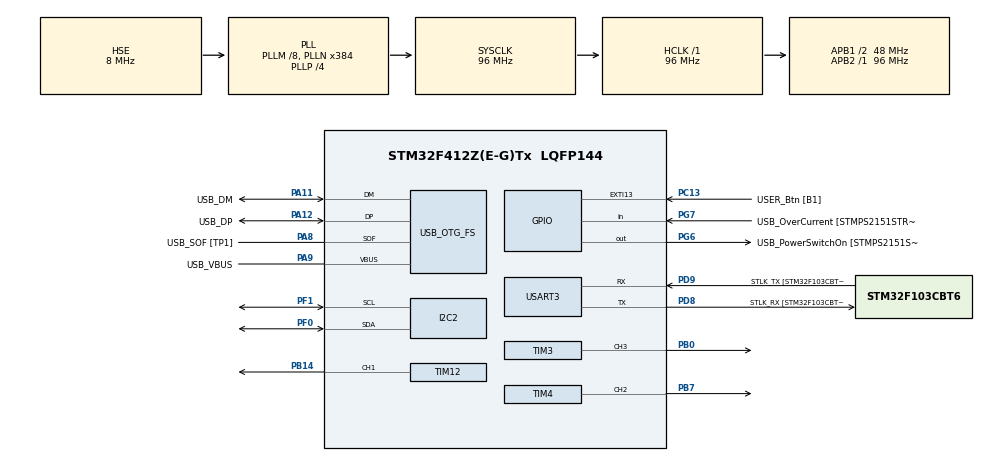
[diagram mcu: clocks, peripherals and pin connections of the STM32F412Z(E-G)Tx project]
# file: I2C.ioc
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Mcu.Family=STM32F4
Mcu.Name=STM32F412Z(E-G)Tx
Mcu.Package=LQFP144
NVIC.PriorityGroup=NVIC_PRIORITYGROUP_4
PA10.GPIO_Label=USB_ID
PA10.Signal=USB_OTG_FS_ID
PA11.GPIO_Label=USB_DM
PA11.Mode=Device_Only
PA11.Signal=USB_OTG_FS_DM
PA12.GPIO_Label=USB_DP
PA12.Mode=Device_Only
PA12.Signal=USB_OTG_FS_DP
PA13.GPIO_Label=TMS
PA13.Mode=Serial_Wire
PA13.Signal=SYS_JTMS-SWDIO
PA14.GPIO_Label=TCK
PA14.Mode=Serial_Wire
PA14.Signal=SYS_JTCK-SWCLK
PA8.GPIO_Label=USB_SOF [TP1]
PA8.Mode=Activate_SOF_FS
PA8.Signal=USB_OTG_FS_SOF
PA9.GPIO_Label=USB_VBUS
PA9.Mode=Activate_VBUS
PA9.Signal=USB_OTG_FS_VBUS
PB0.Signal=S_TIM3_CH3
PB14.Signal=S_TIM12_CH1
PB3.GPIO_Label=SWO
PB3.Signal=SYS_JTDO-SWO
PB7.Signal=S_TIM4_CH2
PC13.GPIO_Label=USER_Btn [B1]
PC13.Signal=GPXTI13
PC14-OSC32_IN.Mode=LSE-External-Oscillator
PC14-OSC32_IN.Signal=RCC_OSC32_IN
PC15-OSC32_OUT.Mode=LSE-External-Oscillator
PC15-OSC32_OUT.Signal=RCC_OSC32_OUT
PD8.GPIO_Label=STLK_RX [STM32F103CBT6_PA3]
PD8.Mode=Asynchronous
PD8.Signal=USART3_TX
PD9.GPIO_Label=STLK_TX [STM32F103CBT6_PA2]
PD9.Mode=Asynchronous
PD9.Signal=USART3_RX
PF0.Mode=I2C
PF0.Signal=I2C2_SDA
PF1.Mode=I2C
PF1.Signal=I2C2_SCL
PG6.GPIO_Label=USB_PowerSwitchOn [STMPS2151STR_EN]
PG6.Signal=GPIO_Output
PG7.GPIO_Label=USB_OverCurrent [STMPS2151STR_FAULT]
PG7.Signal=GPIO_Input
PH0\ -\ OSC_IN.GPIO_Label=MCO
PH0\ -\ OSC_IN.Mode=HSE-External-Clock-Source
PH0\ -\ OSC_IN.Signal=RCC_OSC_IN
PH1\ -\ OSC_OUT.Mode=HSE-External-Clock-Source
PH1\ -\ OSC_OUT.Signal=RCC_OSC_OUT
ProjectManager.HeapSize=0x200
ProjectManager.StackSize=0x400
ProjectManager.TargetToolchain=STM32CubeIDE
RCC.48MHZClocksFreq_Value=24000000
RCC.AHBFreq_Value=96000000
RCC.APB1CLKDivider=RCC_HCLK_DIV2
RCC.APB1Freq_Value=48000000
RCC.APB1TimFreq_Value=96000000
RCC.APB2Freq_Value=96000000
RCC.APB2TimFreq_Value=96000000
RCC.CortexFreq_Value=96000000
RCC.HCLKFreq_Value=96000000
RCC.HSE_VALUE=8000000
RCC.HSI_VALUE=16000000
RCC.PLLM=8
RCC.PLLMUL=RCC_PLL_MUL9
RCC.PLLN=384
RCC.PLLP=RCC_PLLP_DIV4
RCC.PLLQ=8
RCC.PRESCALERUSB=RCC_USBCLKSOURCE_PLL_DIV1_5
RCC.SYSCLKFreq_VALUE=96000000
RCC.SYSCLKSource=RCC_SYSCLKSOURCE_PLLCLK
RCC.SYSCLKSourceVirtual=RCC_SYSCLKSOURCE_PLLCLK
RCC.USBFreq_Value=48000000
RCC.VCOOutputFreq_Value=384000000
SH.S_TIM12_CH1.0=TIM12_CH1,PWM Generation1 CH1
SH.S_TIM3_CH3.0=TIM3_CH3,PWM Generation3 CH3
SH.S_TIM4_CH2.0=TIM4_CH2,PWM Generation2 CH2
TIM12.Channel-PWM\ Generation1\ CH1=TIM_CHANNEL_1
TIM12.Period=19999
TIM12.Prescaler=95
TIM3.Channel-PWM\ Generation3\ CH3=TIM_CHANNEL_3
TIM3.Period=19999
TIM3.Prescaler=95
TIM4.Channel-PWM\ Generation2\ CH2=TIM_CHANNEL_2
TIM4.Period=19999
TIM4.Prescaler=95
USART3.VirtualMode=VM_ASYNC
USB_OTG_FS.VirtualMode=Device_Only
VP_TIM12_VS_ClockSourceINT.Mode=Internal
VP_TIM3_VS_ClockSourceINT.Mode=Internal
VP_TIM4_VS_ClockSourceINT.Mode=Internal
board=NUCLEO-F412ZG

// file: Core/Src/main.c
/* USER CODE BEGIN Header */
/**
  ******************************************************************************
  * @file           : main.c
  * @brief          : Main program body
  ******************************************************************************
  * @attention
  *
  * Copyright (c) 2024 STMicroelectronics.
  * All rights reserved.
  *
  * This software is licensed under terms that can be found in the LICENSE file
  * in the root directory of this software component.
  * If no LICENSE file comes with this software, it is provided AS-IS.
  *
  ******************************************************************************
  */
/* USER CODE END Header */
#include "main.h"

/* USER CODE BEGIN Includes */
#include "ADXL345.h"
#include <string.h>

/* USER CODE END Includes */

I2C_HandleTypeDef hi2c2;

TIM_HandleTypeDef htim3;
TIM_HandleTypeDef htim4;
TIM_HandleTypeDef htim12;

UART_HandleTypeDef huart3;

PCD_HandleTypeDef hpcd_USB_OTG_FS;

void SystemClock_Config(void);
static void MX_GPIO_Init(void);
static void MX_USART3_UART_Init(void);
static void MX_USB_OTG_FS_PCD_Init(void);
static void MX_I2C2_Init(void);
static void MX_TIM3_Init(void);
static void MX_TIM4_Init(void);
static void MX_TIM12_Init(void);

int main(void)
{

  /* MCU Configuration--------------------------------------------------------*/

  /* Reset of all peripherals, Initializes the Flash interface and the Systick. */
  HAL_Init();

  /* Configure the system clock */
  SystemClock_Config();

  /* Initialize all configured peripherals */
  MX_GPIO_Init();
  MX_USART3_UART_Init();
  MX_USB_OTG_FS_PCD_Init();
  MX_I2C2_Init();
  MX_TIM3_Init();
  MX_TIM4_Init();
  MX_TIM12_Init();
  HAL_TIM_PWM_Start(&htim12, TIM_CHANNEL_1);
  HAL_TIM_PWM_Start(&htim3, TIM_CHANNEL_3);
  HAL_TIM_PWM_Start(&htim4, TIM_CHANNEL_2);

  /* USER CODE BEGIN 2 */
  const char *msgOK = "ADXL I2C Initialized\r\n";
  const char *msgKO = "ADXL I2C Failed\r\n";
  ADXL345 adxl345;

  if (ADXL345_initialization(&hi2c2, &adxl345) == 0)
  {
	  HAL_UART_Transmit(&huart3, (uint8_t *)msgOK, strlen(msgOK), HAL_MAX_DELAY);
  } else {
	  HAL_UART_Transmit(&huart3, (uint8_t *)msgKO, strlen(msgKO), HAL_MAX_DELAY);
  }

  ADXL345_set_offset(&adxl345);

  /* USER CODE END 2 */

  /* Infinite loop */
  /* USER CODE BEGIN WHILE */
  while (1)
  {
	  ADXL345_get_acc_norm(&adxl345);
	  ADXL345_print_norm(&adxl345, &huart3);
	  __HAL_TIM_SET_COMPARE(&htim12, TIM_CHANNEL_1, (uint32_t)((adxl345.acc_msp2X+1)*20000) );
	  __HAL_TIM_SET_COMPARE(&htim3, TIM_CHANNEL_3, (uint32_t)((adxl345.acc_msp2Y+1)*20000) );
	  __HAL_TIM_SET_COMPARE(&htim4, TIM_CHANNEL_2, (uint32_t)((adxl345.acc_msp2Z+1)*20000) );
	  HAL_Delay(100);

	  //__HAL_TIM_SET_COMPARE(&htim12, TIM_CHANNEL_1, (uint32_t)(adxl345.acc_msp2[0]*20000) );

	  //sprintf(msgZ, "%.2f", dataZNorm);
	  //HAL_UART_Transmit(&huart3, (uint8_t *)msgZ, strlen(msgZ), HAL_MAX_DELAY);

    /* USER CODE END WHILE */

  }
}

void SystemClock_Config(void)
{
  RCC_OscInitTypeDef RCC_OscInitStruct = {0};
  RCC_ClkInitTypeDef RCC_ClkInitStruct = {0};

  /** Configure the main internal regulator output voltage
  */
  __HAL_RCC_PWR_CLK_ENABLE();
  __HAL_PWR_VOLTAGESCALING_CONFIG(PWR_REGULATOR_VOLTAGE_SCALE1);

  /** Initializes the RCC Oscillators according to the specified parameters
  * in the RCC_OscInitTypeDef structure.
  */
  RCC_OscInitStruct.OscillatorType = RCC_OSCILLATORTYPE_HSE;
  RCC_OscInitStruct.HSEState = RCC_HSE_BYPASS;
  RCC_OscInitStruct.PLL.PLLState = RCC_PLL_ON;
  RCC_OscInitStruct.PLL.PLLSource = RCC_PLLSOURCE_HSE;
  RCC_OscInitStruct.PLL.PLLM = 8;
  RCC_OscInitStruct.PLL.PLLN = 384;
  RCC_OscInitStruct.PLL.PLLP = RCC_PLLP_DIV4;
  RCC_OscInitStruct.PLL.PLLQ = 8;
  RCC_OscInitStruct.PLL.PLLR = 2;
  if (HAL_RCC_OscConfig(&RCC_OscInitStruct) != HAL_OK)
  {
    Error_Handler();
  }

  /** Initializes the CPU, AHB and APB buses clocks
  */
  RCC_ClkInitStruct.ClockType = RCC_CLOCKTYPE_HCLK|RCC_CLOCKTYPE_SYSCLK
                              |RCC_CLOCKTYPE_PCLK1|RCC_CLOCKTYPE_PCLK2;
  RCC_ClkInitStruct.SYSCLKSource = RCC_SYSCLKSOURCE_PLLCLK;
  RCC_ClkInitStruct.AHBCLKDivider = RCC_SYSCLK_DIV1;
  RCC_ClkInitStruct.APB1CLKDivider = RCC_HCLK_DIV2;
  RCC_ClkInitStruct.APB2CLKDivider = RCC_HCLK_DIV1;

  if (HAL_RCC_ClockConfig(&RCC_ClkInitStruct, FLASH_LATENCY_3) != HAL_OK)
  {
    Error_Handler();
  }
}

static void MX_I2C2_Init(void)
{

  hi2c2.Instance = I2C2;
  hi2c2.Init.ClockSpeed = 100000;
  hi2c2.Init.DutyCycle = I2C_DUTYCYCLE_2;
  hi2c2.Init.OwnAddress1 = 0;
  hi2c2.Init.AddressingMode = I2C_ADDRESSINGMODE_7BIT;
  hi2c2.Init.DualAddressMode = I2C_DUALADDRESS_DISABLE;
  hi2c2.Init.OwnAddress2 = 0;
  hi2c2.Init.GeneralCallMode = I2C_GENERALCALL_DISABLE;
  hi2c2.Init.NoStretchMode = I2C_NOSTRETCH_DISABLE;
  if (HAL_I2C_Init(&hi2c2) != HAL_OK)
  {
    Error_Handler();
  }

}

static void MX_TIM3_Init(void)
{

  TIM_ClockConfigTypeDef sClockSourceConfig = {0};
  TIM_MasterConfigTypeDef sMasterConfig = {0};
  TIM_OC_InitTypeDef sConfigOC = {0};

  htim3.Instance = TIM3;
  htim3.Init.Prescaler = 95;
  htim3.Init.CounterMode = TIM_COUNTERMODE_UP;
  htim3.Init.Period = 19999;
  htim3.Init.ClockDivision = TIM_CLOCKDIVISION_DIV1;
  htim3.Init.AutoReloadPreload = TIM_AUTORELOAD_PRELOAD_DISABLE;
  if (HAL_TIM_Base_Init(&htim3) != HAL_OK)
  {
    Error_Handler();
  }
  sClockSourceConfig.ClockSource = TIM_CLOCKSOURCE_INTERNAL;
  if (HAL_TIM_ConfigClockSource(&htim3, &sClockSourceConfig) != HAL_OK)
  {
    Error_Handler();
  }
  if (HAL_TIM_PWM_Init(&htim3) != HAL_OK)
  {
    Error_Handler();
  }
  sMasterConfig.MasterOutputTrigger = TIM_TRGO_RESET;
  sMasterConfig.MasterSlaveMode = TIM_MASTERSLAVEMODE_DISABLE;
  if (HAL_TIMEx_MasterConfigSynchronization(&htim3, &sMasterConfig) != HAL_OK)
  {
    Error_Handler();
  }
  sConfigOC.OCMode = TIM_OCMODE_PWM1;
  sConfigOC.Pulse = 0;
  sConfigOC.OCPolarity = TIM_OCPOLARITY_HIGH;
  sConfigOC.OCFastMode = TIM_OCFAST_DISABLE;
  if (HAL_TIM_PWM_ConfigChannel(&htim3, &sConfigOC, TIM_CHANNEL_3) != HAL_OK)
  {
    Error_Handler();
  }
  HAL_TIM_MspPostInit(&htim3);

}

static void MX_TIM4_Init(void)
{

  TIM_ClockConfigTypeDef sClockSourceConfig = {0};
  TIM_MasterConfigTypeDef sMasterConfig = {0};
  TIM_OC_InitTypeDef sConfigOC = {0};

  htim4.Instance = TIM4;
  htim4.Init.Prescaler = 95;
  htim4.Init.CounterMode = TIM_COUNTERMODE_UP;
  htim4.Init.Period = 19999;
  htim4.Init.ClockDivision = TIM_CLOCKDIVISION_DIV1;
  htim4.Init.AutoReloadPreload = TIM_AUTORELOAD_PRELOAD_DISABLE;
  if (HAL_TIM_Base_Init(&htim4) != HAL_OK)
  {
    Error_Handler();
  }
  sClockSourceConfig.ClockSource = TIM_CLOCKSOURCE_INTERNAL;
  if (HAL_TIM_ConfigClockSource(&htim4, &sClockSourceConfig) != HAL_OK)
  {
    Error_Handler();
  }
  if (HAL_TIM_PWM_Init(&htim4) != HAL_OK)
  {
    Error_Handler();
  }
  sMasterConfig.MasterOutputTrigger = TIM_TRGO_RESET;
  sMasterConfig.MasterSlaveMode = TIM_MASTERSLAVEMODE_DISABLE;
  if (HAL_TIMEx_MasterConfigSynchronization(&htim4, &sMasterConfig) != HAL_OK)
  {
    Error_Handler();
  }
  sConfigOC.OCMode = TIM_OCMODE_PWM1;
  sConfigOC.Pulse = 0;
  sConfigOC.OCPolarity = TIM_OCPOLARITY_HIGH;
  sConfigOC.OCFastMode = TIM_OCFAST_DISABLE;
  if (HAL_TIM_PWM_ConfigChannel(&htim4, &sConfigOC, TIM_CHANNEL_2) != HAL_OK)
  {
    Error_Handler();
  }
  HAL_TIM_MspPostInit(&htim4);

}

static void MX_TIM12_Init(void)
{

  TIM_ClockConfigTypeDef sClockSourceConfig = {0};
  TIM_OC_InitTypeDef sConfigOC = {0};

  htim12.Instance = TIM12;
  htim12.Init.Prescaler = 95;
  htim12.Init.CounterMode = TIM_COUNTERMODE_UP;
  htim12.Init.Period = 19999;
  htim12.Init.ClockDivision = TIM_CLOCKDIVISION_DIV1;
  htim12.Init.AutoReloadPreload = TIM_AUTORELOAD_PRELOAD_DISABLE;
  if (HAL_TIM_Base_Init(&htim12) != HAL_OK)
  {
    Error_Handler();
  }
  sClockSourceConfig.ClockSource = TIM_CLOCKSOURCE_INTERNAL;
  if (HAL_TIM_ConfigClockSource(&htim12, &sClockSourceConfig) != HAL_OK)
  {
    Error_Handler();
  }
  if (HAL_TIM_PWM_Init(&htim12) != HAL_OK)
  {
    Error_Handler();
  }
  sConfigOC.OCMode = TIM_OCMODE_PWM1;
  sConfigOC.Pulse = 0;
  sConfigOC.OCPolarity = TIM_OCPOLARITY_HIGH;
  sConfigOC.OCFastMode = TIM_OCFAST_DISABLE;
  if (HAL_TIM_PWM_ConfigChannel(&htim12, &sConfigOC, TIM_CHANNEL_1) != HAL_OK)
  {
    Error_Handler();
  }
  HAL_TIM_MspPostInit(&htim12);

}

static void MX_USART3_UART_Init(void)
{

  huart3.Instance = USART3;
  huart3.Init.BaudRate = 115200;
  huart3.Init.WordLength = UART_WORDLENGTH_8B;
  huart3.Init.StopBits = UART_STOPBITS_1;
  huart3.Init.Parity = UART_PARITY_NONE;
  huart3.Init.Mode = UART_MODE_TX_RX;
  huart3.Init.HwFlowCtl = UART_HWCONTROL_NONE;
  huart3.Init.OverSampling = UART_OVERSAMPLING_16;
  if (HAL_UART_Init(&huart3) != HAL_OK)
  {
    Error_Handler();
  }

}

static void MX_USB_OTG_FS_PCD_Init(void)
{

  hpcd_USB_OTG_FS.Instance = USB_OTG_FS;
  hpcd_USB_OTG_FS.Init.dev_endpoints = 6;
  hpcd_USB_OTG_FS.Init.speed = PCD_SPEED_FULL;
  hpcd_USB_OTG_FS.Init.dma_enable = DISABLE;
  hpcd_USB_OTG_FS.Init.phy_itface = PCD_PHY_EMBEDDED;
  hpcd_USB_OTG_FS.Init.Sof_enable = ENABLE;
  hpcd_USB_OTG_FS.Init.low_power_enable = DISABLE;
  hpcd_USB_OTG_FS.Init.lpm_enable = DISABLE;
  hpcd_USB_OTG_FS.Init.battery_charging_enable = ENABLE;
  hpcd_USB_OTG_FS.Init.vbus_sensing_enable = ENABLE;
  hpcd_USB_OTG_FS.Init.use_dedicated_ep1 = DISABLE;
  if (HAL_PCD_Init(&hpcd_USB_OTG_FS) != HAL_OK)
  {
    Error_Handler();
  }

}

static void MX_GPIO_Init(void)
{
  GPIO_InitTypeDef GPIO_InitStruct = {0};

  /* GPIO Ports Clock Enable */
  __HAL_RCC_GPIOC_CLK_ENABLE();
  __HAL_RCC_GPIOF_CLK_ENABLE();
  __HAL_RCC_GPIOH_CLK_ENABLE();
  __HAL_RCC_GPIOB_CLK_ENABLE();
  __HAL_RCC_GPIOD_CLK_ENABLE();
  __HAL_RCC_GPIOG_CLK_ENABLE();
  __HAL_RCC_GPIOA_CLK_ENABLE();

  /*Configure GPIO pin Output Level */
  HAL_GPIO_WritePin(USB_PowerSwitchOn_GPIO_Port, USB_PowerSwitchOn_Pin, GPIO_PIN_RESET);

  /*Configure GPIO pin : USER_Btn_Pin */
  GPIO_InitStruct.Pin = USER_Btn_Pin;
  GPIO_InitStruct.Mode = GPIO_MODE_IT_RISING;
  GPIO_InitStruct.Pull = GPIO_NOPULL;
  HAL_GPIO_Init(USER_Btn_GPIO_Port, &GPIO_InitStruct);

  /*Configure GPIO pin : USB_PowerSwitchOn_Pin */
  GPIO_InitStruct.Pin = USB_PowerSwitchOn_Pin;
  GPIO_InitStruct.Mode = GPIO_MODE_OUTPUT_PP;
  GPIO_InitStruct.Pull = GPIO_NOPULL;
  GPIO_InitStruct.Speed = GPIO_SPEED_FREQ_LOW;
  HAL_GPIO_Init(USB_PowerSwitchOn_GPIO_Port, &GPIO_InitStruct);

  /*Configure GPIO pin : USB_OverCurrent_Pin */
  GPIO_InitStruct.Pin = USB_OverCurrent_Pin;
  GPIO_InitStruct.Mode = GPIO_MODE_INPUT;
  GPIO_InitStruct.Pull = GPIO_NOPULL;
  HAL_GPIO_Init(USB_OverCurrent_GPIO_Port, &GPIO_InitStruct);

}

void Error_Handler(void)
{
  __disable_irq();
  while (1)
  {
  }
}
